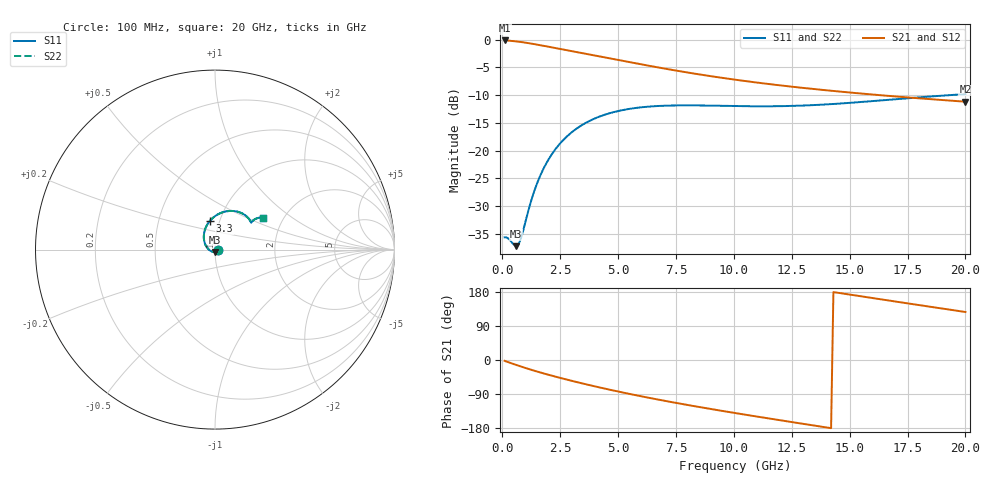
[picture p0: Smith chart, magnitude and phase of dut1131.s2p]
! Touchstone file exported from HFSS 2024.1.0
!  File:  C:/UserFiles/LocalFiles/RDL_TSV_Batchsim/temp_RDL_TSV_1131_1780110479.aedt
!  Generated:  11:16:55 AM May 30, 2026
!  Design:  RDL_TSV
!  Project:  temp_RDL_TSV_1131_1780110479
!  Setup:  Setup1
!  Solution:  Sweep
! Variables:
!  dtsv = 13.81um
!  hbump = 3um
!  htsv = 79.17um
!  ldown = 282.34um
!  lrdl = 600.81um
!  p = 40
!  p1 = 56.73um
!  rhole = 10um
!  subl = 3250.26um
!  t = 450um
!  tdown = 4.97um
!  trdl = 2.5um
!  viad = 10um
!  wdown = 12.59um
!  wrdl = 29.83um
!  xbump = 18um
# GHz S MA R 50.000000
! Terminal data exported
! Port[1] = TM1_1_T1
! Port[2] = TM1_4_T1
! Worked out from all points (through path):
!   200 points, 100 MHz to 20 GHz, reference 50 ohm
!   highest |S21| = -0.15 dB at 100 MHz (marker M1); lowest = -11.2 dB at 20 GHz (marker M2)
!   group delay of S21, straight-line fit = 30.4 ps
!   lowest |S11| = -37.2 dB at 600 MHz (marker M3), VSWR 1.03, Z = 50.2 - j1.37 ohm
!   |S11| at or under -10 dB: start of sweep to 19.33 GHz
!   |S22| runs from -37.2 to -9.8 dB; largest |S21 - S12| = 1.7e-14
!   S11 on the Smith chart (normalised r, x): 100 MHz: 1.03, -0.00; 3.3 GHz: 0.90, +0.30; 20 GHz: 1.58, +0.63
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0.1  0.01657 -8.3  0.9826 -2.3  0.9826 -2.3  0.01657 -8.3
! Gamma 0 0 0 0
! Port Impedance 50 0 50 0
0.3  0.01591 -30.7  0.9773 -6.7  0.9773 -6.7  0.01591 -30.7
0.6  0.01378 -82.0  0.9639 -13.0  0.9639 -13.0  0.01378 -81.9
0.7  0.01429 -103.6  0.9583 -15.1  0.9583 -15.1  0.01429 -103.6
0.8  0.01602 -124.4  0.9522 -17.1  0.9522 -17.1  0.01602 -124.4
1.3  0.03839 173.9  0.9169 -26.8  0.9169 -26.8  0.03837 173.9
1.5  0.05058 160.9  0.9015 -30.4  0.9015 -30.4  0.05056 160.8
1.8  0.07013 145.7  0.878 -35.7  0.878 -35.7  0.07009 145.7
2.1  0.09015 133.7  0.8546 -40.8  0.8546 -40.8  0.0901 133.7
2.5  0.1163 120.5  0.8242 -47.2  0.8242 -47.2  0.1162 120.5
3.3  0.1627 100.0  0.7664 -59.5  0.7664 -59.5  0.1626 100.0
3.5  0.1728 95.8  0.7525 -62.4  0.7525 -62.4  0.1727 95.8
4.3  0.2063 81.2  0.6992 -73.8  0.6992 -73.8  0.2061 81.2
5.2  0.2319 68.4  0.6437 -85.8  0.6437 -85.8  0.2317 68.3
6  0.2456 59.4  0.5986 -95.8  0.5986 -95.8  0.2454 59.4
6.8  0.2528 52.4  0.558 -105.3  0.558 -105.3  0.2526 52.4
8.3  0.2556 43.4  0.4937 -121.9  0.4937 -121.9  0.2554 43.4
10.1  0.2519 38.1  0.4341 -140.4  0.4341 -140.4  0.2518 38.1
11.7  0.251 36.7  0.3936 -156.1  0.3936 -156.1  0.2509 36.7
13.4  0.2569 37.0  0.3597 -172.3  0.3597 -172.3  0.2569 37.0
16.7  0.2872 37.0  0.311 156.9  0.311 156.9  0.2872 37.0
20  0.3227 33.5  0.276 126.7  0.276 126.7  0.3228 33.4
